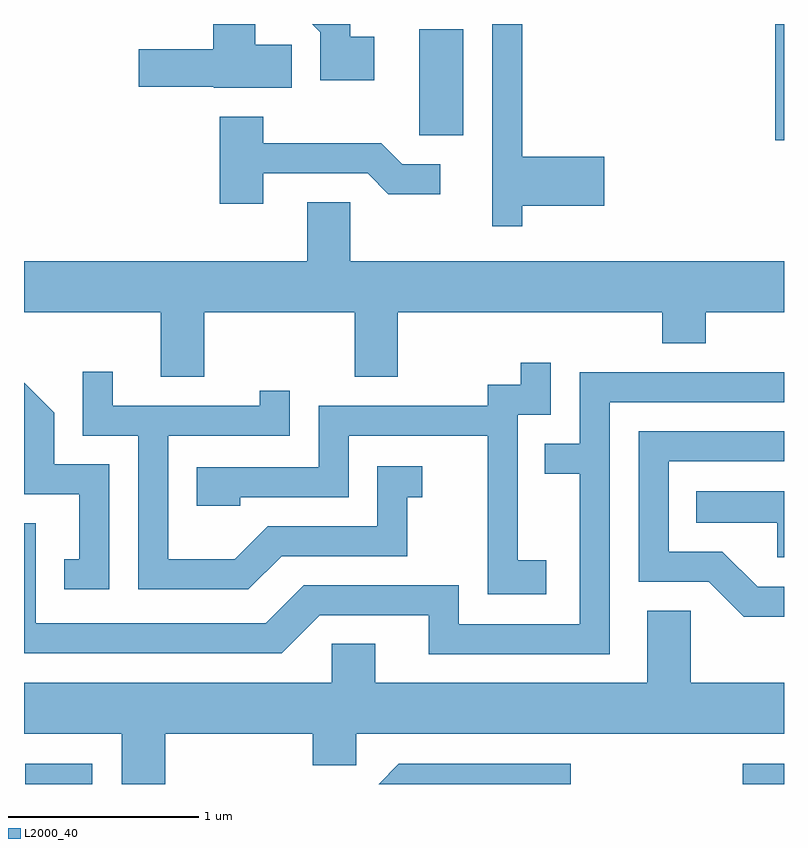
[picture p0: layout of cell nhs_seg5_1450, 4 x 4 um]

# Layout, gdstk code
import gdstk
lib = gdstk.Library(unit=1e-6, precision=1e-09)
def R(c, l, rs):  # rectangles x0, y0, x1, y1
    for r in rs: c.add(gdstk.rectangle(r[:2], r[2:], *l))
def P(c, l, *ps):  # polygons
    for p in ps: c.add(gdstk.Polygon(p, *l))
L2000_40 = (2000, 40)

nhs_seg5_1450 = lib.new_cell('nhs_seg5_1450')
R(nhs_seg5_1450, L2000_40, [(227.618,1472.072,227.969,1472.179), (231.393,1472.072,231.611,1472.179), (231.566,1475.461,231.611,1476.072), (229.691,1475.486,229.924,1476.044)])
P(nhs_seg5_1450, L2000_40, [(229.454,1476.004),(229.329,1476.004),(229.329,1476.072),(229.128,1476.072),(229.171,1476.029),(229.171,1475.776),(229.454,1475.776)],
  [(229.019,1475.964),(228.829,1475.964),(228.829,1476.072),(228.606,1476.072),(228.606,1475.939),(228.216,1475.939),(228.216,1475.741),(228.61,1475.741),(228.61,1475.736),(229.019,1475.736)],
  [(230.234,1475.116),(230.664,1475.116),(230.664,1475.374),(230.234,1475.374),(230.234,1476.072),(230.076,1476.072),(230.076,1475.008),(230.234,1475.008)],
  [(228.869,1475.286),(229.419,1475.286),(229.529,1475.176),(229.803,1475.176),(229.803,1475.334),(229.602,1475.334),(229.492,1475.444),(228.869,1475.444),(228.869,1475.584),(228.641,1475.584),(228.641,1475.126),(228.869,1475.126)],
  [(228.559,1474.556),(229.351,1474.556),(229.351,1474.216),(229.579,1474.216),(229.579,1474.556),(230.971,1474.556),(230.971,1474.391),(231.199,1474.391),(231.199,1474.556),(231.611,1474.556),(231.611,1474.824),(229.329,1474.824),(229.329,1475.134),(229.101,1475.134),(229.101,1474.824),(227.611,1474.824),(227.611,1474.556),(228.331,1474.556),(228.331,1474.216),(228.559,1474.216)],
  [(230.359,1473.249),(230.209,1473.249),(230.209,1474.016),(230.384,1474.016),(230.384,1474.288),(230.226,1474.288),(230.226,1474.174),(230.051,1474.174),(230.051,1474.064),(229.161,1474.064),(229.161,1473.739),(228.521,1473.739),(228.521,1473.536),(228.749,1473.536),(228.749,1473.581),(229.319,1473.581),(229.319,1473.906),(230.051,1473.906),(230.051,1473.071),(230.359,1473.071)],
  [(228.967,1473.271),(229.629,1473.271),(229.629,1473.581),(229.708,1473.581),(229.708,1473.744),(229.471,1473.744),(229.471,1473.429),(228.894,1473.429),(228.719,1473.254),(228.369,1473.254),(228.369,1473.906),(229.009,1473.906),(229.009,1474.143),(228.851,1474.143),(228.851,1474.064),(228.079,1474.064),(228.079,1474.243),(227.921,1474.243),(227.921,1473.906),(228.211,1473.906),(228.211,1473.096),(228.792,1473.096)],
  [(230.694,1474.081),(231.611,1474.081),(231.611,1474.239),(230.536,1474.239),(230.536,1473.864),(230.353,1473.864),(230.353,1473.706),(230.536,1473.706),(230.536,1472.914),(229.899,1472.914),(229.899,1473.119),(229.084,1473.119),(228.884,1472.919),(227.674,1472.919),(227.674,1473.444),(227.611,1473.444),(227.611,1472.761),(228.967,1472.761),(229.167,1472.961),(229.741,1472.961),(229.741,1472.756),(230.694,1472.756)],
  [(228.059,1473.754),(227.769,1473.754),(227.769,1474.027),(227.611,1474.185),(227.611,1473.596),(227.901,1473.596),(227.901,1473.254),(227.823,1473.254),(227.823,1473.096),(228.059,1473.096)],
  [(231.611,1473.109),(231.472,1473.109),(231.287,1473.294),(231.004,1473.294),(231.004,1473.771),(231.611,1473.771),(231.611,1473.929),(230.846,1473.929),(230.846,1473.136),(231.214,1473.136),(231.399,1472.951),(231.611,1472.951)],
  [(231.611,1473.614),(231.148,1473.614),(231.148,1473.446),(231.576,1473.446),(231.576,1473.266),(231.611,1473.266)],
  [(228.354,1472.336),(229.131,1472.336),(229.131,1472.171),(229.359,1472.171),(229.359,1472.336),(231.611,1472.336),(231.611,1472.604),(231.119,1472.604),(231.119,1472.984),(230.891,1472.984),(230.891,1472.604),(229.459,1472.604),(229.459,1472.809),(229.231,1472.809),(229.231,1472.604),(227.611,1472.604),(227.611,1472.336),(228.126,1472.336),(228.126,1472.072),(228.354,1472.072)],
  [(230.489,1472.179),(229.584,1472.179),(229.477,1472.072),(230.489,1472.072)])

lib.write_gds('nhs_seg5_1450.gds')
